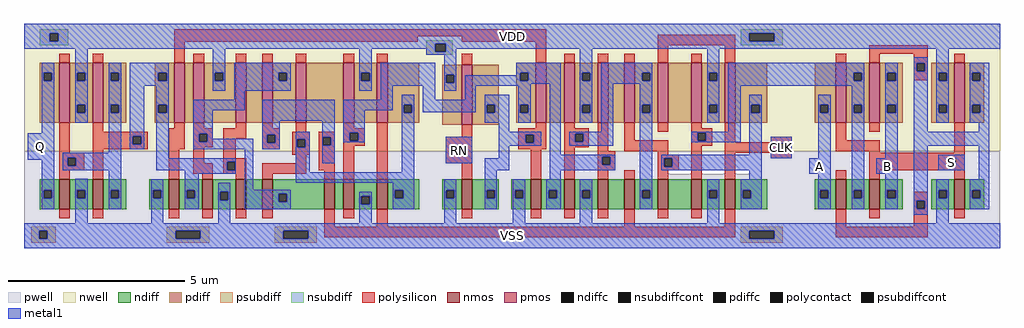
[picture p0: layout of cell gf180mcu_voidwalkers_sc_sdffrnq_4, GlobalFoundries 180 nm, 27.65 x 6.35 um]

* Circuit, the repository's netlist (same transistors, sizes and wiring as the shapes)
* NGSPICE file created from gf180mcu_voidwalkers_sc_sdffrnq_4_flattened.ext - technology: gf180mcuD

.subckt gf180mcu_voidwalkers_sc_sdffrnq_4_flattened VDD VSS A B S CLK RN Q
X0 a_n870_270# RN VDD VDD pfet_03v3 ad=1.275p pd=4.9u as=0.935p ps=4.5u w=1.7u l=0.3u
X1 a_2090_270# S A VDD pfet_03v3 ad=0.5525p pd=2.35u as=1.0285p ps=4.61u w=1.7u l=0.3u
X2 a_n1490_270# a_n1300_270# VSS VSS nfet_03v3 ad=0.54825p pd=2.99u as=0.27625p ps=1.5u w=0.85u l=0.3u
X3 a_n1300_270# a_n870_270# VSS VSS nfet_03v3 ad=0.27625p pd=1.5u as=0.4675p ps=2.8u w=0.85u l=0.3u
X4 a_120_270# a_n870_270# VSS VSS nfet_03v3 ad=0.27625p pd=1.5u as=0.4675p ps=2.8u w=0.85u l=0.3u
X5 a_1370_270# CLK a_1620_320# VSS nfet_03v3 ad=0.27625p pd=1.5u as=0.19125p ps=1.3u w=0.85u l=0.3u
X6 a_n730_520# CLK a_n430_810# VDD pfet_03v3 ad=0.5525p pd=2.35u as=0.3825p ps=2.15u w=1.7u l=0.3u
X7 a_n340_270# CLK VSS VSS nfet_03v3 ad=0.765p pd=3.5u as=0.27625p ps=1.5u w=0.85u l=0.3u
X8 VDD a_n730_520# a_n780_810# VDD pfet_03v3 ad=0.765p pd=2.6u as=0.2125p ps=1.95u w=1.7u l=0.3u
X9 a_1620_810# a_120_270# VDD VDD pfet_03v3 ad=0.3825p pd=2.15u as=0.5525p ps=2.35u w=1.7u l=0.3u
X10 a_2910_160# S VDD VDD pfet_03v3 ad=0.935p pd=4.5u as=1.105p ps=4.7u w=1.7u l=0.3u
X11 a_2090_270# a_2910_160# A VSS nfet_03v3 ad=0.27625p pd=1.5u as=0.51425p ps=2.91u w=0.85u l=0.3u
X12 VDD a_120_270# a_n90_810# VDD pfet_03v3 ad=0.5525p pd=2.35u as=0.8925p ps=2.75u w=1.7u l=0.3u
X13 a_1710_650# CLK VDD VDD pfet_03v3 ad=1.53p pd=5.2u as=0.5525p ps=2.35u w=1.7u l=0.3u
X14 a_1270_810# a_n870_270# a_120_270# VDD pfet_03v3 ad=0.425p pd=2.2u as=0.935p ps=4.5u w=1.7u l=0.3u
X15 a_n730_520# a_n340_270# a_n430_320# VSS nfet_03v3 ad=0.61625p pd=2.3u as=0.19125p ps=1.3u w=0.85u l=0.3u
X16 a_1620_320# a_120_270# VSS VSS nfet_03v3 ad=0.19125p pd=1.3u as=0.27625p ps=1.5u w=0.85u l=0.3u
X17 a_2910_160# S VSS VSS nfet_03v3 ad=0.4675p pd=2.8u as=0.5525p ps=3u w=0.85u l=0.3u
X18 VSS a_n730_520# a_n1300_270# VSS nfet_03v3 ad=0.27625p pd=1.5u as=0.27625p ps=1.5u w=0.85u l=0.3u
X19 B a_2910_160# a_2090_270# VDD pfet_03v3 ad=1.105p pd=4.7u as=0.5525p ps=2.35u w=1.7u l=0.3u
X20 a_70_320# CLK a_n730_520# VSS nfet_03v3 ad=0.10625p pd=1.1u as=0.61625p ps=2.3u w=0.85u l=0.3u
X21 VDD a_n1490_270# Q VDD pfet_03v3 ad=0.5525p pd=2.35u as=0.935p ps=4.5u w=1.7u l=0.3u
X22 a_n90_810# a_n340_270# a_n730_520# VDD pfet_03v3 ad=0.8925p pd=2.75u as=0.5525p ps=2.35u w=1.7u l=0.3u
X23 VSS a_120_270# a_70_320# VSS nfet_03v3 ad=0.27625p pd=1.5u as=0.10625p ps=1.1u w=0.85u l=0.3u
X24 a_n430_810# a_n1300_270# VDD VDD pfet_03v3 ad=0.3825p pd=2.15u as=0.765p ps=2.6u w=1.7u l=0.3u
X25 VDD a_1370_270# a_1270_810# VDD pfet_03v3 ad=0.5525p pd=2.35u as=0.425p ps=2.2u w=1.7u l=0.3u
X26 a_1960_810# CLK a_1370_270# VDD pfet_03v3 ad=0.5525p pd=2.35u as=0.5525p ps=2.35u w=1.7u l=0.3u
X27 a_1710_650# CLK VSS VSS nfet_03v3 ad=0.765p pd=3.5u as=0.27625p ps=1.5u w=0.85u l=0.3u
X28 a_n780_810# a_n870_270# a_n1300_270# VDD pfet_03v3 ad=0.2125p pd=1.95u as=0.935p ps=4.5u w=1.7u l=0.3u
X29 B S a_2090_270# VSS nfet_03v3 ad=0.5525p pd=3u as=0.27625p ps=1.5u w=0.85u l=0.3u
X30 VDD a_2090_270# a_1960_810# VDD pfet_03v3 ad=0.5525p pd=2.35u as=0.5525p ps=2.35u w=1.7u l=0.3u
X31 VSS a_n1490_270# Q VSS nfet_03v3 ad=0.27625p pd=1.5u as=0.4675p ps=2.8u w=0.85u l=0.3u
X32 VSS a_1370_270# a_120_270# VSS nfet_03v3 ad=0.27625p pd=1.5u as=0.27625p ps=1.5u w=0.85u l=0.3u
X33 a_1960_320# a_1710_650# a_1370_270# VSS nfet_03v3 ad=0.27625p pd=1.5u as=0.27625p ps=1.5u w=0.85u l=0.3u
X34 a_n430_320# a_n1300_270# VSS VSS nfet_03v3 ad=0.19125p pd=1.3u as=0.27625p ps=1.5u w=0.85u l=0.3u
X35 a_n1490_270# a_n1300_270# VDD VDD pfet_03v3 ad=1.0965p pd=4.69u as=0.5525p ps=2.35u w=1.7u l=0.3u
X36 a_1370_270# a_1710_650# a_1620_810# VDD pfet_03v3 ad=0.5525p pd=2.35u as=0.3825p ps=2.15u w=1.7u l=0.3u
X37 VSS a_2090_270# a_1960_320# VSS nfet_03v3 ad=0.27625p pd=1.5u as=0.27625p ps=1.5u w=0.85u l=0.3u
X38 a_n870_270# RN VSS VSS nfet_03v3 ad=0.6375p pd=3.2u as=0.4675p ps=2.8u w=0.85u l=0.3u
X39 a_n340_270# CLK VDD VDD pfet_03v3 ad=1.53p pd=5.2u as=0.5525p ps=2.35u w=1.7u l=0.3u
.ends

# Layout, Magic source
magic
tech gf180mcuD
magscale 1 10
<< nwell >>
rect -1690 650 2660 1370
<< pwell >>
rect -1690 540 2660 650
rect -1690 520 1960 540
rect 2090 520 2150 540
rect 2280 520 2340 540
rect 2420 520 2660 540
rect -1690 100 2660 520
<< nmos >>
rect -1490 320 -1430 490
rect -1300 320 -1240 490
rect -870 320 -810 490
rect -680 320 -620 490
rect -490 320 -430 490
rect -340 320 -280 490
rect 10 320 70 490
rect 120 320 180 490
rect 310 320 370 490
rect 790 320 850 490
rect 1180 320 1240 490
rect 1370 320 1430 490
rect 1560 320 1620 490
rect 1710 320 1770 490
rect 1900 320 1960 490
rect 2090 320 2150 490
rect 2280 320 2340 490
<< pmos >>
rect -1490 810 -1430 1150
rect -1300 810 -1240 1150
rect -840 810 -780 1150
rect -730 810 -670 1150
rect -490 810 -430 1150
rect -340 810 -280 1150
rect -150 810 -90 1150
rect 120 810 180 1150
rect 310 810 370 1150
rect 790 800 850 1140
rect 1210 810 1270 1150
rect 1370 810 1430 1150
rect 1560 810 1620 1150
rect 1710 810 1770 1150
rect 1900 810 1960 1150
rect 2090 810 2150 1150
rect 2280 810 2340 1150
<< ndiff >>
rect -1600 428 -1490 490
rect -1600 382 -1578 428
rect -1532 382 -1490 428
rect -1600 320 -1490 382
rect -1430 428 -1300 490
rect -1430 382 -1388 428
rect -1342 382 -1300 428
rect -1430 320 -1300 382
rect -1240 428 -1111 490
rect -1240 382 -1198 428
rect -1152 382 -1111 428
rect -1240 320 -1111 382
rect -980 428 -870 490
rect -980 382 -958 428
rect -912 382 -870 428
rect -980 320 -870 382
rect -810 428 -680 490
rect -810 382 -768 428
rect -722 382 -680 428
rect -810 320 -680 382
rect -620 418 -490 490
rect -620 372 -578 418
rect -532 372 -490 418
rect -620 320 -490 372
rect -430 320 -340 490
rect -280 408 10 490
rect -280 362 -248 408
rect -202 362 10 408
rect -280 320 10 362
rect 70 320 120 490
rect 180 393 310 490
rect 180 347 222 393
rect 268 347 310 393
rect 180 320 310 347
rect 370 428 550 490
rect 370 382 412 428
rect 458 382 550 428
rect 370 320 550 382
rect 680 428 790 490
rect 680 382 702 428
rect 748 382 790 428
rect 680 320 790 382
rect 850 428 1000 490
rect 850 382 932 428
rect 978 382 1000 428
rect 850 320 1000 382
rect 1070 428 1180 490
rect 1070 382 1092 428
rect 1138 382 1180 428
rect 1070 320 1180 382
rect 1240 428 1370 490
rect 1240 382 1282 428
rect 1328 382 1370 428
rect 1240 320 1370 382
rect 1430 428 1560 490
rect 1430 382 1472 428
rect 1518 382 1560 428
rect 1430 320 1560 382
rect 1620 320 1710 490
rect 1770 428 1900 490
rect 1770 382 1812 428
rect 1858 382 1900 428
rect 1770 320 1900 382
rect 1960 320 2090 490
rect 2150 428 2280 490
rect 2150 382 2192 428
rect 2238 382 2280 428
rect 2150 320 2280 382
rect 2340 428 2520 490
rect 2340 382 2382 428
rect 2428 382 2520 428
rect 2340 320 2520 382
<< pdiff >>
rect -1600 1093 -1490 1150
rect -1600 1047 -1578 1093
rect -1532 1047 -1490 1093
rect -1600 810 -1490 1047
rect -1430 1093 -1300 1150
rect -1430 1047 -1388 1093
rect -1342 1047 -1300 1093
rect -1430 913 -1300 1047
rect -1430 867 -1388 913
rect -1342 867 -1300 913
rect -1430 810 -1300 867
rect -1240 1093 -1111 1150
rect -1240 1047 -1198 1093
rect -1152 1047 -1111 1093
rect -1240 913 -1111 1047
rect -1240 867 -1198 913
rect -1152 867 -1111 913
rect -1240 810 -1111 867
rect -950 1093 -840 1150
rect -950 1047 -928 1093
rect -882 1047 -840 1093
rect -950 913 -840 1047
rect -950 867 -928 913
rect -882 867 -840 913
rect -950 810 -840 867
rect -780 810 -730 1150
rect -670 1093 -490 1150
rect -670 1047 -608 1093
rect -562 1047 -490 1093
rect -670 810 -490 1047
rect -430 810 -340 1150
rect -280 1093 -150 1150
rect -280 1047 -248 1093
rect -202 1047 -150 1093
rect -280 810 -150 1047
rect -90 810 120 1150
rect 180 1093 310 1150
rect 180 1047 222 1093
rect 268 1047 310 1093
rect 180 810 310 1047
rect 370 913 550 1150
rect 370 867 462 913
rect 508 867 550 913
rect 370 810 550 867
rect 680 1083 790 1140
rect 680 1037 702 1083
rect 748 1037 790 1083
rect 680 800 790 1037
rect 850 913 1000 1140
rect 850 867 932 913
rect 978 867 1000 913
rect 850 800 1000 867
rect 1100 1093 1210 1150
rect 1100 1047 1122 1093
rect 1168 1047 1210 1093
rect 1100 913 1210 1047
rect 1100 867 1122 913
rect 1168 867 1210 913
rect 1100 810 1210 867
rect 1270 810 1370 1150
rect 1430 1093 1560 1150
rect 1430 1047 1472 1093
rect 1518 1047 1560 1093
rect 1430 913 1560 1047
rect 1430 867 1472 913
rect 1518 867 1560 913
rect 1430 810 1560 867
rect 1620 810 1710 1150
rect 1770 1093 1900 1150
rect 1770 1047 1812 1093
rect 1858 1047 1900 1093
rect 1770 913 1900 1047
rect 1770 867 1812 913
rect 1858 867 1900 913
rect 1770 810 1900 867
rect 1960 810 2090 1150
rect 2150 1093 2280 1150
rect 2150 1047 2192 1093
rect 2238 1047 2280 1093
rect 2150 913 2280 1047
rect 2150 867 2192 913
rect 2238 867 2280 913
rect 2150 810 2280 867
rect 2340 913 2520 1150
rect 2340 867 2432 913
rect 2478 867 2520 913
rect 2340 810 2520 867
<< ndiffc >>
rect -1578 382 -1532 428
rect -1388 382 -1342 428
rect -1198 382 -1152 428
rect -958 382 -912 428
rect -768 382 -722 428
rect -578 372 -532 418
rect -248 362 -202 408
rect 222 347 268 393
rect 412 382 458 428
rect 702 382 748 428
rect 932 382 978 428
rect 1092 382 1138 428
rect 1282 382 1328 428
rect 1472 382 1518 428
rect 1812 382 1858 428
rect 2192 382 2238 428
rect 2382 382 2428 428
<< pdiffc >>
rect -1578 1047 -1532 1093
rect -1388 1047 -1342 1093
rect -1388 867 -1342 913
rect -1198 1047 -1152 1093
rect -1198 867 -1152 913
rect -928 1047 -882 1093
rect -928 867 -882 913
rect -608 1047 -562 1093
rect -248 1047 -202 1093
rect 222 1047 268 1093
rect 462 867 508 913
rect 702 1037 748 1083
rect 932 867 978 913
rect 1122 1047 1168 1093
rect 1122 867 1168 913
rect 1472 1047 1518 1093
rect 1472 867 1518 913
rect 1812 1047 1858 1093
rect 1812 867 1858 913
rect 2192 1047 2238 1093
rect 2192 867 2238 913
rect 2432 867 2478 913
<< psubdiff >>
rect -1650 198 -1510 220
rect -1650 152 -1603 198
rect -1557 152 -1510 198
rect -1650 130 -1510 152
rect -880 198 -640 220
rect -880 152 -830 198
rect -690 152 -640 198
rect -880 130 -640 152
rect -270 198 -30 220
rect -270 152 -220 198
rect -80 152 -30 198
rect 2370 198 2610 220
rect -270 130 -30 152
rect 2370 152 2420 198
rect 2560 152 2610 198
rect 2370 130 2610 152
<< nsubdiff >>
rect -1600 1318 -1440 1340
rect -1600 1272 -1543 1318
rect -1497 1272 -1440 1318
rect -1600 1250 -1440 1272
rect 2370 1318 2610 1340
rect 590 1259 740 1278
rect 590 1213 640 1259
rect 700 1213 740 1259
rect 590 1196 740 1213
rect 2370 1272 2420 1318
rect 2560 1272 2610 1318
rect 2370 1250 2610 1272
<< psubdiffcont >>
rect -1603 152 -1557 198
rect -830 152 -690 198
rect -220 152 -80 198
rect 2420 152 2560 198
<< nsubdiffcont >>
rect -1543 1272 -1497 1318
rect 640 1213 700 1259
rect 2420 1272 2560 1318
<< polysilicon >>
rect -840 1301 1270 1340
rect -840 1270 540 1301
rect -1490 1150 -1430 1200
rect -1300 1150 -1240 1200
rect -840 1150 -780 1270
rect 790 1270 1270 1301
rect -730 1150 -670 1200
rect -490 1150 -430 1200
rect -340 1150 -280 1200
rect -150 1150 -90 1200
rect 120 1150 180 1200
rect 310 1150 370 1200
rect 790 1140 850 1200
rect 1210 1150 1270 1270
rect 1900 1250 2340 1310
rect 1370 1150 1430 1200
rect 1560 1150 1620 1200
rect 1710 1150 1770 1200
rect 1900 1150 1960 1250
rect 2090 1150 2150 1200
rect 2280 1150 2340 1250
rect -1490 640 -1430 810
rect -1300 760 -1240 810
rect -840 780 -780 810
rect -1300 733 -990 760
rect -1300 687 -1073 733
rect -1027 687 -990 733
rect -1300 660 -990 687
rect -870 660 -780 780
rect -730 780 -670 810
rect -490 780 -430 810
rect -730 748 -620 780
rect -730 702 -698 748
rect -652 702 -620 748
rect -730 670 -620 702
rect -560 720 -430 780
rect -340 780 -280 810
rect -340 743 -240 780
rect -150 760 -90 810
rect 120 780 180 810
rect -1490 613 -1350 640
rect -1490 567 -1443 613
rect -1397 567 -1350 613
rect -1490 540 -1350 567
rect -1490 490 -1430 540
rect -1300 490 -1240 660
rect -870 490 -810 660
rect -730 580 -670 670
rect -560 610 -490 720
rect -340 697 -313 743
rect -267 697 -240 743
rect -340 660 -240 697
rect -170 718 -70 760
rect -170 672 -143 718
rect -97 672 -70 718
rect -170 630 -70 672
rect -20 728 70 760
rect -20 682 2 728
rect 48 682 70 728
rect -560 588 -430 610
rect -730 520 -620 580
rect -560 542 -538 588
rect -492 542 -430 588
rect -150 580 -90 630
rect -560 520 -430 542
rect -680 490 -620 520
rect -490 490 -430 520
rect -340 520 -90 580
rect -20 540 70 682
rect -340 490 -280 520
rect 10 490 70 540
rect 120 753 240 780
rect 120 707 157 753
rect 203 707 240 753
rect 120 680 240 707
rect 120 490 180 680
rect 310 490 370 810
rect 790 730 850 800
rect 1210 780 1270 810
rect 700 678 850 730
rect 700 632 752 678
rect 798 632 850 678
rect 1110 743 1270 780
rect 1110 697 1152 743
rect 1198 697 1270 743
rect 1110 660 1270 697
rect 1370 780 1430 810
rect 1370 748 1510 780
rect 1370 702 1432 748
rect 1478 702 1510 748
rect 1370 670 1510 702
rect 700 580 850 632
rect 790 490 850 580
rect 1180 490 1240 660
rect 1370 490 1430 670
rect 1560 650 1620 810
rect 1710 710 1770 810
rect 1900 760 1960 810
rect 2090 780 2150 810
rect 2090 753 2210 780
rect 1710 650 1960 710
rect 1560 618 1660 650
rect 1560 572 1587 618
rect 1633 572 1660 618
rect 1560 540 1660 572
rect 1900 630 1960 650
rect 2090 707 2127 753
rect 2173 707 2210 753
rect 2090 680 2210 707
rect 2280 700 2340 810
rect 2540 700 2660 730
rect 2280 693 2660 700
rect 1900 608 2020 630
rect 1900 562 1937 608
rect 1983 562 2020 608
rect 1900 540 2020 562
rect 1560 490 1620 540
rect 1710 490 1770 540
rect 1900 490 1960 540
rect 2090 490 2150 680
rect 2280 647 2577 693
rect 2623 647 2660 693
rect 2280 640 2660 647
rect 2280 490 2340 640
rect 2540 610 2660 640
rect -1490 270 -1430 320
rect -1300 270 -1240 320
rect -870 270 -810 320
rect -680 270 -620 320
rect -490 270 -430 320
rect -340 270 -280 320
rect 10 220 70 320
rect 120 270 180 320
rect 310 220 370 320
rect 790 270 850 320
rect 1180 270 1240 320
rect 1370 270 1430 320
rect 1560 270 1620 320
rect 1710 220 1770 320
rect 1900 270 1960 320
rect 2090 270 2150 320
rect 2280 220 2340 320
rect 10 160 2340 220
<< polycontact >>
rect -1073 687 -1027 733
rect -698 702 -652 748
rect -1443 567 -1397 613
rect -313 697 -267 743
rect -143 672 -97 718
rect 2 682 48 728
rect -538 542 -492 588
rect 157 707 203 753
rect 752 632 798 678
rect 1152 697 1198 743
rect 1432 702 1478 748
rect 1587 572 1633 618
rect 2127 707 2173 753
rect 1937 562 1983 608
rect 2577 647 2623 693
<< metal1 >>
rect -1690 1318 3840 1370
rect -1690 1272 -1543 1318
rect -1497 1272 2420 1318
rect 2560 1272 3840 1318
rect -1690 1259 3840 1272
rect -1690 1230 640 1259
rect -1590 1093 -1520 1150
rect -1590 1047 -1578 1093
rect -1532 1047 -1520 1093
rect -1590 750 -1520 1047
rect -1400 1093 -1329 1230
rect -1400 1047 -1388 1093
rect -1342 1047 -1329 1093
rect -1400 940 -1329 1047
rect -1210 1093 -1140 1150
rect -1210 1047 -1198 1093
rect -1152 1047 -1140 1093
rect -1400 913 -1330 940
rect -1400 867 -1388 913
rect -1342 867 -1330 913
rect -1400 810 -1330 867
rect -1210 913 -1140 1047
rect -1210 867 -1198 913
rect -1152 867 -1140 913
rect -1670 600 -1520 750
rect -1210 640 -1140 867
rect -1090 1093 -870 1150
rect -1090 1047 -928 1093
rect -882 1047 -870 1093
rect -1090 1020 -870 1047
rect -1090 733 -1010 1020
rect -1090 687 -1073 733
rect -1027 687 -1010 733
rect -1090 660 -1010 687
rect -940 913 -870 1020
rect -620 1093 -550 1230
rect -620 1047 -608 1093
rect -562 1047 -550 1093
rect -620 990 -550 1047
rect -500 1093 -180 1150
rect -500 1047 -248 1093
rect -202 1047 -180 1093
rect -500 990 -180 1047
rect 210 1093 280 1230
rect 590 1213 640 1230
rect 700 1250 3840 1259
rect 700 1230 2660 1250
rect 700 1213 760 1230
rect 590 1196 760 1213
rect 210 1047 222 1093
rect 268 1047 280 1093
rect 210 990 280 1047
rect 330 1020 640 1150
rect -500 940 -440 990
rect 330 940 400 1020
rect -940 867 -928 913
rect -882 867 -870 913
rect -1590 428 -1520 600
rect -1470 613 -1140 640
rect -1470 567 -1443 613
rect -1397 567 -1140 613
rect -1470 540 -1140 567
rect -940 610 -870 867
rect -730 880 -440 940
rect -730 748 -620 880
rect -730 702 -698 748
rect -652 720 -620 748
rect -340 820 70 940
rect -340 743 -240 820
rect -652 702 -390 720
rect -730 660 -390 702
rect -340 697 -313 743
rect -267 697 -240 743
rect -340 660 -240 697
rect -150 718 -70 760
rect -150 672 -143 718
rect -97 672 -70 718
rect -940 588 -490 610
rect -940 542 -538 588
rect -492 542 -490 588
rect -940 540 -490 542
rect -1590 382 -1578 428
rect -1532 382 -1520 428
rect -1590 320 -1520 382
rect -1400 428 -1329 494
rect -1400 382 -1388 428
rect -1342 382 -1329 428
rect -1400 240 -1329 382
rect -1210 428 -1140 540
rect -780 520 -490 540
rect -1210 382 -1198 428
rect -1152 382 -1140 428
rect -1210 320 -1140 382
rect -970 428 -900 490
rect -970 382 -958 428
rect -912 382 -900 428
rect -970 240 -900 382
rect -780 428 -700 520
rect -780 382 -768 428
rect -722 382 -700 428
rect -780 320 -700 382
rect -590 418 -520 470
rect -590 372 -578 418
rect -532 372 -520 418
rect -590 240 -520 372
rect -440 430 -390 660
rect -150 530 -70 672
rect 0 728 70 820
rect 0 682 2 728
rect 48 682 70 728
rect 120 880 400 940
rect 450 913 520 970
rect 120 753 240 880
rect 120 707 157 753
rect 203 707 240 753
rect 120 700 240 707
rect 450 867 462 913
rect 508 867 520 913
rect 570 940 640 1020
rect 690 1083 760 1196
rect 690 1037 702 1083
rect 748 1037 760 1083
rect 1100 1093 1350 1150
rect 1100 1080 1122 1093
rect 690 990 760 1037
rect 810 1047 1122 1080
rect 1168 1047 1350 1093
rect 810 1030 1350 1047
rect 810 1020 1180 1030
rect 810 940 870 1020
rect 570 870 870 940
rect 920 913 1060 970
rect 0 580 70 682
rect 450 530 520 867
rect 920 867 932 913
rect 978 867 1060 913
rect 920 810 1060 867
rect 1110 913 1180 1020
rect 1110 867 1122 913
rect 1168 867 1180 913
rect 1110 810 1180 867
rect 1000 760 1060 810
rect 1000 743 1240 760
rect 700 678 850 730
rect 700 632 752 678
rect 798 632 850 678
rect 700 580 850 632
rect 1000 697 1152 743
rect 1198 697 1240 743
rect 1000 680 1240 697
rect 1000 610 1060 680
rect -150 470 520 530
rect 920 540 1060 610
rect 1290 630 1350 1030
rect 1460 1093 1530 1230
rect 1460 1047 1472 1093
rect 1518 1047 1530 1093
rect 1460 913 1530 1047
rect 1460 867 1472 913
rect 1518 867 1530 913
rect 1460 810 1530 867
rect 1580 1093 1870 1150
rect 1580 1047 1812 1093
rect 1858 1047 1870 1093
rect 1580 1030 1870 1047
rect 1580 760 1650 1030
rect 1400 748 1650 760
rect 1400 702 1432 748
rect 1478 702 1650 748
rect 1400 680 1650 702
rect 1800 913 1870 1030
rect 1800 867 1812 913
rect 1858 867 1870 913
rect 1290 618 1660 630
rect 1290 572 1587 618
rect 1633 572 1660 618
rect 1290 540 1660 572
rect -440 408 -180 430
rect 400 428 520 470
rect -440 362 -248 408
rect -202 362 -180 408
rect -440 320 -180 362
rect 210 393 280 420
rect 210 347 222 393
rect 268 347 280 393
rect 210 240 280 347
rect 400 382 412 428
rect 458 382 520 428
rect 400 320 520 382
rect 690 428 760 490
rect 690 382 702 428
rect 748 382 760 428
rect 690 240 760 382
rect 920 428 990 540
rect 1290 490 1350 540
rect 920 382 932 428
rect 978 382 990 428
rect 920 320 990 382
rect 1080 428 1150 490
rect 1080 382 1092 428
rect 1138 382 1150 428
rect 1080 240 1150 382
rect 1270 428 1350 490
rect 1270 382 1282 428
rect 1328 382 1350 428
rect 1270 320 1350 382
rect 1460 428 1530 490
rect 1460 382 1472 428
rect 1518 382 1530 428
rect 1460 240 1530 382
rect 1800 428 1870 867
rect 2180 1093 2250 1230
rect 2180 1047 2192 1093
rect 2238 1047 2250 1093
rect 2180 913 2250 1047
rect 2180 867 2192 913
rect 2238 867 2250 913
rect 2180 810 2250 867
rect 2300 1020 2660 1150
rect 2300 760 2370 1020
rect 2090 753 2370 760
rect 2090 707 2127 753
rect 2173 707 2370 753
rect 2090 700 2370 707
rect 2420 913 2490 970
rect 2420 867 2432 913
rect 2478 867 2490 913
rect 2420 630 2490 867
rect 1920 608 2490 630
rect 2540 693 2660 730
rect 2540 647 2577 693
rect 2623 647 2660 693
rect 2540 610 2660 647
rect 1920 562 1937 608
rect 1983 562 2490 608
rect 1920 540 2490 562
rect 2420 490 2490 540
rect 2760 520 2880 610
rect 3140 520 3260 610
rect 3490 540 3640 630
rect 1800 382 1812 428
rect 1858 382 1870 428
rect 1800 320 1870 382
rect 2180 428 2250 490
rect 2180 382 2192 428
rect 2238 382 2250 428
rect 2180 240 2250 382
rect 2370 428 2490 490
rect 2370 382 2382 428
rect 2428 382 2490 428
rect 2370 320 2490 382
rect -1690 220 2660 240
rect -1690 198 3840 220
rect -1690 152 -1603 198
rect -1557 152 -830 198
rect -690 152 -220 198
rect -80 152 2420 198
rect 2560 152 3840 198
rect -1690 100 3840 152
use mux_as_component  mux_as_component_0
transform 1 0 2330 0 1 350
box 330 -250 1510 1020
<< labels >>
flabel metal1 s 2760 520 2880 610 0 FreeSans 600 0 0 0 A
port 3 nsew
flabel metal1 s 3140 520 3260 610 0 FreeSans 600 0 0 0 B
port 4 nsew
flabel metal1 s 3490 540 3640 630 0 FreeSans 600 0 0 0 S
port 5 nsew
flabel metal1 s 2540 610 2660 730 0 FreeSans 600 0 0 0 CLK
port 6 nsew
flabel metal1 s 700 580 850 730 0 FreeSans 600 0 0 0 RN
port 7 nsew
flabel metal1 s -1670 600 -1520 750 0 FreeSans 600 0 0 0 Q
port 8 nsew
flabel metal1 s -1690 100 3840 240 0 FreeSans 480 0 0 0 VSS
port 1 nsew
flabel metal1 s -1690 1230 3840 1370 0 FreeSans 480 0 0 0 VDD
port 0 nsew
<< end >>

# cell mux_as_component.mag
magic
tech gf180mcuD
magscale 1 10
<< nwell >>
rect 330 300 1510 1020
<< pwell >>
rect 330 -250 1510 300
<< nmos >>
rect 580 -30 640 140
rect 770 -30 830 140
rect 1250 -30 1310 140
<< pmos >>
rect 580 460 640 800
rect 770 460 830 800
rect 1250 460 1310 800
<< ndiff >>
rect 459 78 580 140
rect 459 32 492 78
rect 538 32 580 78
rect 459 -30 580 32
rect 640 78 770 140
rect 640 32 682 78
rect 728 32 770 78
rect 640 -30 770 32
rect 830 78 960 140
rect 830 32 872 78
rect 918 32 960 78
rect 1120 78 1250 140
rect 830 -30 960 32
rect 1120 32 1162 78
rect 1208 32 1250 78
rect 1120 -30 1250 32
rect 1310 78 1420 140
rect 1310 32 1352 78
rect 1398 32 1420 78
rect 1310 -30 1420 32
<< pdiff >>
rect 459 563 580 800
rect 459 517 492 563
rect 538 517 580 563
rect 459 460 580 517
rect 640 743 770 800
rect 640 697 682 743
rect 728 697 770 743
rect 640 563 770 697
rect 640 517 682 563
rect 728 517 770 563
rect 640 460 770 517
rect 830 743 960 800
rect 830 697 872 743
rect 918 697 960 743
rect 1120 743 1250 800
rect 830 563 960 697
rect 830 517 872 563
rect 918 517 960 563
rect 830 460 960 517
rect 1120 697 1162 743
rect 1208 697 1250 743
rect 1120 563 1250 697
rect 1120 517 1162 563
rect 1208 517 1250 563
rect 1120 460 1250 517
rect 1310 743 1420 800
rect 1310 697 1352 743
rect 1398 697 1420 743
rect 1310 563 1420 697
rect 1310 517 1352 563
rect 1398 517 1420 563
rect 1310 460 1420 517
<< ndiffc >>
rect 492 32 538 78
rect 682 32 728 78
rect 872 32 918 78
rect 1162 32 1208 78
rect 1352 32 1398 78
<< pdiffc >>
rect 492 517 538 563
rect 682 697 728 743
rect 682 517 728 563
rect 872 697 918 743
rect 872 517 918 563
rect 1162 697 1208 743
rect 1162 517 1208 563
rect 1352 697 1398 743
rect 1352 517 1398 563
<< polysilicon >>
rect 770 850 1100 900
rect 580 800 640 850
rect 770 800 830 850
rect 1020 797 1100 850
rect 1250 800 1310 850
rect 1020 751 1037 797
rect 1083 751 1100 797
rect 1020 700 1100 751
rect 580 360 640 460
rect 770 410 830 460
rect 580 300 830 360
rect 770 290 830 300
rect 1250 290 1310 460
rect 770 263 1310 290
rect 770 217 1212 263
rect 1258 217 1310 263
rect 770 190 1310 217
rect 580 140 640 190
rect 770 140 830 190
rect 1250 140 1310 190
rect 1020 18 1100 70
rect 1020 -28 1037 18
rect 1083 -28 1100 18
rect 580 -130 640 -30
rect 770 -80 830 -30
rect 1020 -130 1100 -28
rect 1250 -80 1310 -30
rect 580 -190 1100 -130
<< polycontact >>
rect 1037 751 1083 797
rect 1212 217 1258 263
rect 1037 -28 1083 18
<< metal1 >>
rect 330 880 1510 1020
rect 330 743 740 800
rect 330 697 682 743
rect 728 697 740 743
rect 330 670 740 697
rect 480 563 550 620
rect 480 517 492 563
rect 538 517 550 563
rect 480 260 550 517
rect 430 170 550 260
rect 480 78 550 170
rect 480 32 492 78
rect 538 32 550 78
rect 480 -30 550 32
rect 670 563 740 670
rect 670 517 682 563
rect 728 517 740 563
rect 670 78 740 517
rect 860 743 930 800
rect 860 697 872 743
rect 918 697 930 743
rect 860 563 930 697
rect 860 517 872 563
rect 918 517 930 563
rect 860 260 930 517
rect 810 170 930 260
rect 670 32 682 78
rect 728 32 740 78
rect 670 -30 740 32
rect 860 78 930 170
rect 860 32 872 78
rect 918 32 930 78
rect 860 -30 930 32
rect 1020 797 1100 830
rect 1020 751 1037 797
rect 1083 751 1100 797
rect 1020 410 1100 751
rect 1150 743 1220 880
rect 1150 697 1162 743
rect 1208 697 1220 743
rect 1150 563 1220 697
rect 1150 517 1162 563
rect 1208 517 1220 563
rect 1150 460 1220 517
rect 1340 743 1450 800
rect 1340 697 1352 743
rect 1398 697 1450 743
rect 1340 563 1450 697
rect 1340 517 1352 563
rect 1398 517 1450 563
rect 1340 460 1450 517
rect 1390 410 1450 460
rect 1020 330 1450 410
rect 1020 18 1100 330
rect 1160 263 1310 280
rect 1160 217 1212 263
rect 1258 217 1310 263
rect 1160 190 1310 217
rect 1390 140 1450 330
rect 1020 -28 1037 18
rect 1083 -28 1100 18
rect 1020 -60 1100 -28
rect 1150 78 1220 140
rect 1150 32 1162 78
rect 1208 32 1220 78
rect 1150 -110 1220 32
rect 1340 78 1450 140
rect 1340 32 1352 78
rect 1398 32 1450 78
rect 1340 -30 1450 32
rect 330 -250 1510 -110
<< end >>
